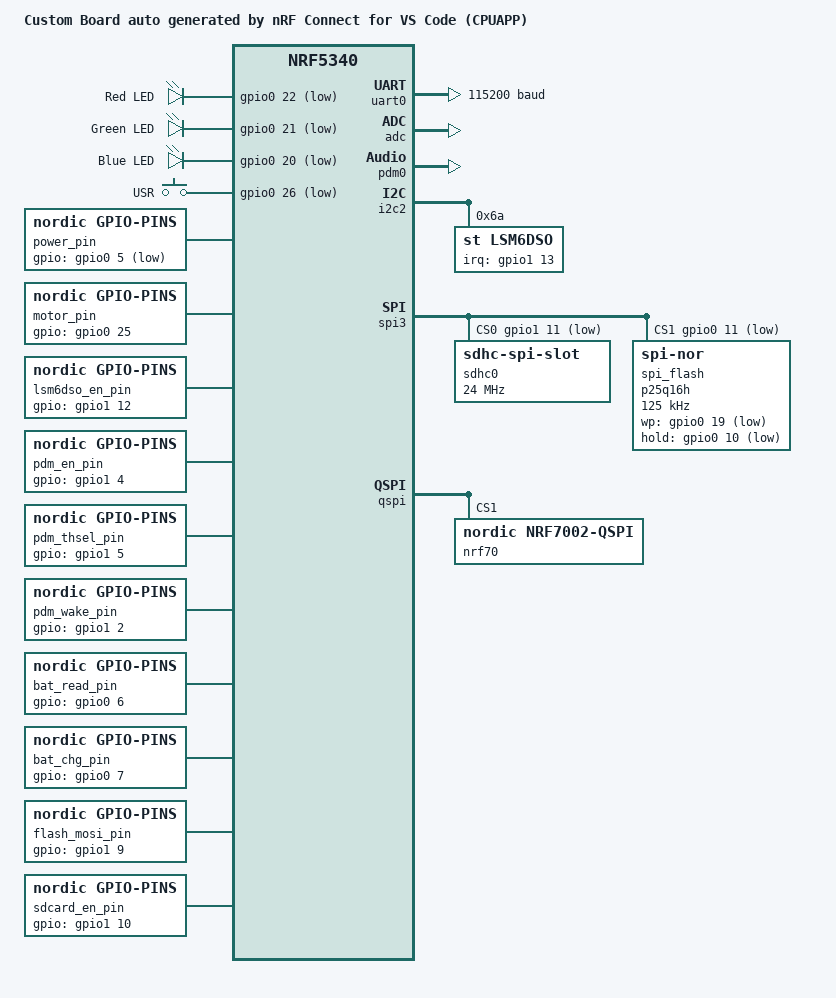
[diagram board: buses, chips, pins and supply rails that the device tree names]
/dts-v1/;
#include <nordic/nrf5340_cpuapp_qkaa.dtsi>
#include "omi_nrf5340-pinctrl.dtsi"
#include <zephyr/dt-bindings/sensor/lsm6dso.h>

/ {
	model = "Custom Board auto generated by nRF Connect for VS Code (CPUAPP)";
	compatible = "omi_nrf5340,omi-nrf5340-cpuapp";
	
	leds {
		compatible = "gpio-leds";
		led_red: led_red {
			label = "Red LED";
			gpios = <&gpio0 22 GPIO_ACTIVE_LOW>;
		};
		led_green: led_green {
			label = "Green LED";
			gpios = <&gpio0 21 GPIO_ACTIVE_LOW>;
		};
		led_blue: led_blue {
			label = "Blue LED";
			gpios = <&gpio0 20 GPIO_ACTIVE_LOW>;
		};
	};
	
	buttons: buttons {
		compatible = "gpio-keys";
		usr_btn: usr-btn {
			gpios = <&gpio0 26 (GPIO_PULL_UP | GPIO_ACTIVE_LOW)>;
			label = "USR";
			zephyr,code = <INPUT_KEY_ENTER>;
		};
	};

	power_pin: power {
		compatible = "nordic,gpio-pins";
		gpios = <&gpio0 5 GPIO_ACTIVE_LOW>;
		status = "okay";
	};

	motor_pin: motor {
		compatible = "nordic,gpio-pins";
		gpios = <&gpio0 25 GPIO_ACTIVE_HIGH>;
		status = "okay";
	};
	
	lsm6dso_en_pin: lsm6dso_en_pin {
		compatible = "nordic,gpio-pins";
		gpios = <&gpio1 12 GPIO_ACTIVE_HIGH>;
		status = "okay";
	};
	
	pdm_en_pin: pdm_en_pin {
		compatible = "nordic,gpio-pins";
		gpios = <&gpio1 4 GPIO_ACTIVE_HIGH>;
		status = "okay";
	};
	
	pdm_thsel_pin: pdm_thsel_pin {
		compatible = "nordic,gpio-pins";
		gpios = <&gpio1 5 GPIO_ACTIVE_HIGH>;
		status = "okay";
	};
	
	pdm_wake_pin: pdm_wake_pin {
		compatible = "nordic,gpio-pins";
		gpios = <&gpio1 2 GPIO_ACTIVE_HIGH>;
		status = "okay";
	};
	
	bat_read_pin: bat_read_pin {
		compatible = "nordic,gpio-pins";
		gpios = <&gpio0 6 GPIO_ACTIVE_HIGH>;
		status = "okay";
	};
	
	bat_chg_pin: bat_chg_pin {
		compatible = "nordic,gpio-pins";
		gpios = <&gpio0 7 GPIO_ACTIVE_HIGH>;
		status = "okay";
	};
	
	flash_mosi_pin: flash-mosi {
		compatible = "nordic,gpio-pins";
		gpios = <&gpio1 9 GPIO_ACTIVE_HIGH>;
		status = "okay";
	};
	
	sdcard_en_pin: sdcard-en {
		compatible = "nordic,gpio-pins";
		gpios = <&gpio1 10 GPIO_ACTIVE_HIGH>;
		status = "okay";
	};
	
	chosen {
		zephyr,sram = &sram0_image;
		zephyr,flash = &flash0;
		zephyr,code-partition = &slot0_partition;
		zephyr,sram-secure-partition = &sram0_s;
		zephyr,sram-non-secure-partition = &sram0_ns;
		zephyr,console = &uart0;
		zephyr,shell-uart = &uart0;
		zephyr,bt-hci = &bt_hci_ipc0;
		nordic,802154-spinel-ipc = &ipc0;
		zephyr,ieee802154 = &ieee802154;
		zephyr,wifi = &wlan0;
	};
	aliases {
		dmic0 = &pdm0;
		buttons = &buttons;
	};
};

&gpio0 {
	status = "okay";
	// power_hog {
	// 	gpios = <5 GPIO_ACTIVE_LOW>;
	// 	output-low;
	// 	gpio-hog;
	// };
};

&gpio1 {
	status = "okay";
};

&gpiote {
	status = "okay";
};

&uart0 {
	status = "okay";
	current-speed = <115200>;
	pinctrl-0 = <&uart0_default>;
	pinctrl-1 = <&uart0_sleep>;
	pinctrl-names = "default", "sleep";
};

&adc {
	status = "okay";
};

&clock {
	hfclkaudio-frequency = <12288000>;
};

&pdm0 {
	status = "okay";
	pinctrl-0 = <&pdm0_default>;
	pinctrl-names = "default";
	clock-source = "PCLK32M_HFXO";
	// #address-cells = < 0x1 >;
	// #size-cells = < 0x0 >;
	// t5838: t5838@0 {
	// 	status = "okay";
	// 	compatible = "invensense,t5838";
	// 	thsel-gpios = <&gpio1 5 GPIO_ACTIVE_HIGH>;
	// 	wake-gpios = <&gpio1 2 GPIO_ACTIVE_HIGH>;
	// 	pdmclk-gpios = <&gpio1 1 GPIO_ACTIVE_HIGH>;
	// 	reg = <0x0>;
	// };
};

&i2c2 {
	status = "okay";
	pinctrl-0 = <&i2c2_default>;
	pinctrl-1 = <&i2c2_sleep>;
	pinctrl-names = "default", "sleep";
	
	lsm6dso: lsm6dso@6a {
		compatible = "st,lsm6dso";
		reg = <0x6a>;
		irq-gpios = <&gpio1 13 GPIO_ACTIVE_HIGH>;
		accel-pm = <LSM6DSO_DT_XL_ULP_MODE>;
		gyro-pm = <LSM6DSO_DT_GY_NORMAL_MODE>;
		status = "okay";
	};
};

&spi3 {
	compatible = "nordic,nrf-spim";
	status = "okay";
	pinctrl-0 = <&spi3_default>;
	pinctrl-1 = <&spi3_sleep>;
	pinctrl-names = "default", "sleep";
	cs-gpios = <&gpio1 11 GPIO_ACTIVE_LOW>, <&gpio0 11 GPIO_ACTIVE_LOW>;
	
	sdhc0: sdhc@0 {
		compatible = "zephyr,sdhc-spi-slot";
		reg = <0>;
		status = "okay";
		mmc {
			compatible = "zephyr,sdmmc-disk";
			status = "okay";
		};
		spi-max-frequency = <24000000>;
	};
	
	spi_flash: p25q16h@1 {
		compatible = "jedec,spi-nor";
		reg = <1>;
		spi-max-frequency = <125000>;
		quad-enable-requirements = "S2B1v1";
		wp-gpios = <&gpio0 19 GPIO_ACTIVE_LOW>;
		hold-gpios= <&gpio0 10 GPIO_ACTIVE_LOW>;
		jedec-id = [85 60 15];
		sfdp-bfp = [
		e5 20 f1 ff  ff ff ff 00  44 eb 08 6b  08 3b 80 bb
		ee ff ff ff  ff ff 00 ff  ff ff 00 ff  0c 20 0f 52
		10 d8 08 81
		];
		size = <DT_SIZE_M(16)>;
	};
};

&qspi {
	pinctrl-0 = <&qspi_default>;
	pinctrl-1 = <&qspi_sleep>;
	pinctrl-names = "default", "sleep";
	status = "okay";
	nrf70: nrf7002@1 {
		compatible = "nordic,nrf7002-qspi";
		status = "okay";
		reg = <1>;
		qspi-frequency = <24000000>;
		qspi-quad-mode;
		#include "nrf70_common.dtsi"
		#include "nrf70_common_5g.dtsi"
	};
};
#include "omi_nrf5340-cpuapp_partitioning.dtsi"
#include "omi_nrf5340-shared_sram.dtsi"
